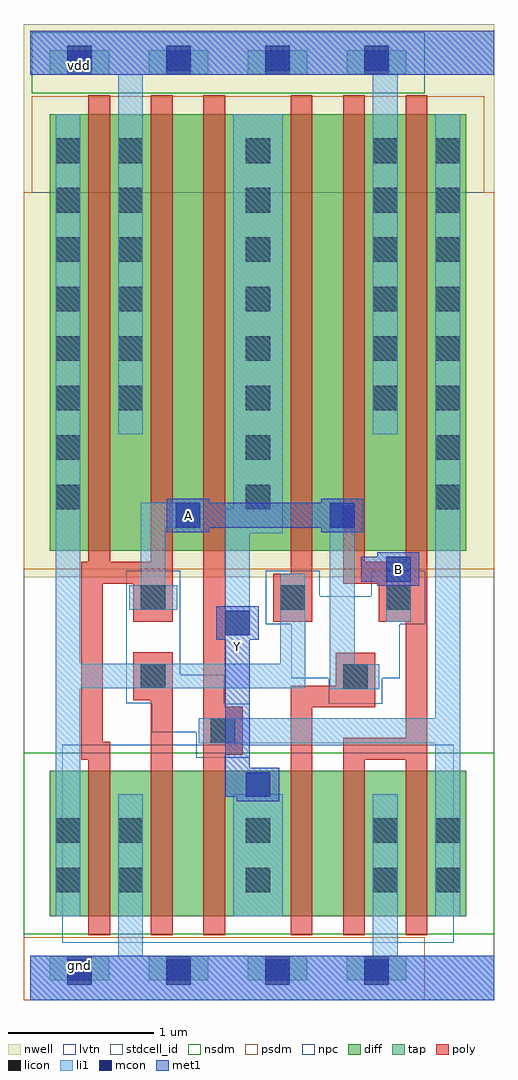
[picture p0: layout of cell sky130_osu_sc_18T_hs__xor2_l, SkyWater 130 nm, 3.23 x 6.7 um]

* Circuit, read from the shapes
.subckt sky130_osu_sc_18T_hs__xor2_l A B Y gnd vdd
XM1 gnd A n1 gnd sky130_fd_pr__nfet_01v8_lvt w=1 l=0.15
XM2 n2 n1 gnd gnd sky130_fd_pr__nfet_01v8_lvt w=1 l=0.15
XM3 Y n3 n2 gnd sky130_fd_pr__nfet_01v8_lvt w=1 l=0.15
XM4 n4 A Y gnd sky130_fd_pr__nfet_01v8_lvt w=1 l=0.15
XM5 gnd B n4 gnd sky130_fd_pr__nfet_01v8_lvt w=1 l=0.15
XM6 n3 B gnd gnd sky130_fd_pr__nfet_01v8_lvt w=1 l=0.15
XM7 vdd A n1 vdd sky130_fd_pr__pfet_01v8 w=3 l=0.15
XM8 n5 A vdd vdd sky130_fd_pr__pfet_01v8 w=3 l=0.15
XM9 Y n3 n5 vdd sky130_fd_pr__pfet_01v8 w=3 l=0.15
XM10 n6 n1 Y vdd sky130_fd_pr__pfet_01v8 w=3 l=0.15
XM11 vdd B n6 vdd sky130_fd_pr__pfet_01v8 w=3 l=0.15
XM12 n3 B vdd vdd sky130_fd_pr__pfet_01v8 w=3 l=0.15
.ends

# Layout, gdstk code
import gdstk
lib = gdstk.Library(unit=1e-6, precision=1e-09)
def R(c, l, rs):  # rectangles x0, y0, x1, y1
    for r in rs: c.add(gdstk.rectangle(r[:2], r[2:], *l))
nwell = (64, 20)
diff = (65, 20)
tap = (65, 44)
poly = (66, 20)
licon = (66, 44)
li1 = (67, 20)
mcon = (67, 44)
met1 = (68, 20)
stdcell_id = (81, 4)
nsdm = (93, 44)
psdm = (94, 20)
npc = (95, 20)
lvtn = (125, 44)

sky130_osu_sc_18t_hs__xo = lib.new_cell('sky130_osu_sc_18T_hs__xor2_l')
R(sky130_osu_sc_18t_hs__xo, nwell, [(-0.045,2.905,3.19,6.705), (-0.045,2.905,3.19,6.705)])
R(sky130_osu_sc_18t_hs__xo, diff, [(0.135,0.575,2.995,1.575), (0.135,0.575,2.995,1.575), (0.135,3.085,2.995,6.085), (0.135,3.085,2.995,6.085)])
R(sky130_osu_sc_18t_hs__xo, tap, [(0.135,0.135,0.545,0.305), (0.135,0.135,0.545,0.305), (0.815,0.135,1.225,0.305), (0.815,0.135,1.225,0.305), (1.495,0.135,1.905,0.305), (1.495,0.135,1.905,0.305), (2.175,0.135,2.585,0.305), (2.175,0.135,2.585,0.305), (0.135,6.355,0.545,6.525), (0.135,6.355,0.545,6.525), (0.815,6.355,1.225,6.525), (0.815,6.355,1.225,6.525), (1.495,6.355,1.905,6.525), (1.495,6.355,1.905,6.525), (2.175,6.355,2.585,6.525), (2.175,6.355,2.585,6.525)])
R(sky130_osu_sc_18t_hs__xo, poly, [(0.4,0.445,0.55,1.65), (0.4,0.445,0.55,1.65), (0.83,0.445,0.98,2.06), (0.83,0.445,0.98,2.06), (1.19,0.445,1.34,1.685), (1.19,0.445,1.34,1.685), (1.79,0.445,1.94,2.01), (1.79,0.445,1.94,2.01), (2.15,0.445,2.3,1.65), (2.15,0.445,2.3,1.65), (2.58,0.445,2.73,1.65), (2.58,0.445,2.73,1.65), (0.35,1.65,0.55,1.775), (0.35,1.65,0.55,1.775), (2.15,1.65,2.73,1.8), (2.15,1.65,2.73,1.8), (1.19,1.685,1.46,2.015), (1.19,1.685,1.46,2.015), (0.35,1.775,0.5,2.86), (0.35,1.775,0.5,2.86), (2.58,1.8,2.73,2.6), (2.58,1.8,2.73,2.6), (1.79,2.01,2.37,2.16), (1.79,2.01,2.37,2.16), (1.19,2.015,1.34,6.215), (1.19,2.015,1.34,6.215), (0.71,2.06,0.98,2.39), (0.71,2.06,0.98,2.39), (2.1,2.16,2.37,2.385), (2.1,2.16,2.37,2.385), (0.71,2.6,0.98,2.86), (0.71,2.6,0.98,2.86), (1.67,2.6,1.94,2.93), (1.67,2.6,1.94,2.93), (2.395,2.6,2.73,2.86), (2.395,2.6,2.73,2.86), (0.35,2.86,0.98,3.01), (0.35,2.86,0.98,3.01), (2.15,2.86,2.73,3.01), (2.15,2.86,2.73,3.01), (1.79,2.93,1.94,6.215), (1.79,2.93,1.94,6.215), (0.4,3.01,0.55,6.215), (0.4,3.01,0.55,6.215), (0.83,3.01,0.98,6.215), (0.83,3.01,0.98,6.215), (2.15,3.01,2.3,6.215), (2.15,3.01,2.3,6.215), (2.58,3.01,2.73,6.215), (2.58,3.01,2.73,6.215)])
R(sky130_osu_sc_18t_hs__xo, licon, [(0.255,0.135,0.425,0.305), (0.255,0.135,0.425,0.305), (0.935,0.135,1.105,0.305), (0.935,0.135,1.105,0.305), (1.615,0.135,1.785,0.305), (1.615,0.135,1.785,0.305), (2.295,0.135,2.465,0.305), (2.295,0.135,2.465,0.305), (0.175,0.74,0.345,0.91), (0.175,0.74,0.345,0.91), (0.605,0.74,0.775,0.91), (0.605,0.74,0.775,0.91), (1.48,0.74,1.65,0.91), (1.48,0.74,1.65,0.91), (2.355,0.74,2.525,0.91), (2.355,0.74,2.525,0.91), (2.785,0.74,2.955,0.91), (2.785,0.74,2.955,0.91), (0.175,1.08,0.345,1.25), (0.175,1.08,0.345,1.25), (0.605,1.08,0.775,1.25), (0.605,1.08,0.775,1.25), (1.48,1.08,1.65,1.25), (1.48,1.08,1.65,1.25), (2.355,1.08,2.525,1.25), (2.355,1.08,2.525,1.25), (2.785,1.08,2.955,1.25), (2.785,1.08,2.955,1.25), (1.24,1.765,1.41,1.935), (1.24,1.765,1.41,1.935), (2.15,2.135,2.32,2.305), (2.15,2.135,2.32,2.305), (0.76,2.14,0.93,2.31), (0.76,2.14,0.93,2.31), (0.76,2.68,0.93,2.85), (0.76,2.68,0.93,2.85), (1.72,2.68,1.89,2.85), (1.72,2.68,1.89,2.85), (2.445,2.68,2.615,2.85), (2.445,2.68,2.615,2.85), (0.175,3.37,0.345,3.54), (0.175,3.37,0.345,3.54), (1.48,3.37,1.65,3.54), (1.48,3.37,1.65,3.54), (2.785,3.37,2.955,3.54), (2.785,3.37,2.955,3.54), (0.175,3.71,0.345,3.88), (0.175,3.71,0.345,3.88), (1.48,3.71,1.65,3.88), (1.48,3.71,1.65,3.88), (2.785,3.71,2.955,3.88), (2.785,3.71,2.955,3.88), (0.175,4.05,0.345,4.22), (0.175,4.05,0.345,4.22), (0.605,4.05,0.775,4.22), (0.605,4.05,0.775,4.22), (1.48,4.05,1.65,4.22), (1.48,4.05,1.65,4.22), (2.355,4.05,2.525,4.22), (2.355,4.05,2.525,4.22), (2.785,4.05,2.955,4.22), (2.785,4.05,2.955,4.22), (0.175,4.39,0.345,4.56), (0.175,4.39,0.345,4.56), (0.605,4.39,0.775,4.56), (0.605,4.39,0.775,4.56), (1.48,4.39,1.65,4.56), (1.48,4.39,1.65,4.56), (2.355,4.39,2.525,4.56), (2.355,4.39,2.525,4.56), (2.785,4.39,2.955,4.56), (2.785,4.39,2.955,4.56), (0.175,4.73,0.345,4.9), (0.175,4.73,0.345,4.9), (0.605,4.73,0.775,4.9), (0.605,4.73,0.775,4.9), (1.48,4.73,1.65,4.9), (1.48,4.73,1.65,4.9), (2.355,4.73,2.525,4.9), (2.355,4.73,2.525,4.9), (2.785,4.73,2.955,4.9), (2.785,4.73,2.955,4.9), (0.175,5.07,0.345,5.24), (0.175,5.07,0.345,5.24), (0.605,5.07,0.775,5.24), (0.605,5.07,0.775,5.24), (1.48,5.07,1.65,5.24), (1.48,5.07,1.65,5.24), (2.355,5.07,2.525,5.24), (2.355,5.07,2.525,5.24), (2.785,5.07,2.955,5.24), (2.785,5.07,2.955,5.24), (0.175,5.41,0.345,5.58), (0.175,5.41,0.345,5.58), (0.605,5.41,0.775,5.58), (0.605,5.41,0.775,5.58), (1.48,5.41,1.65,5.58), (1.48,5.41,1.65,5.58), (2.355,5.41,2.525,5.58), (2.355,5.41,2.525,5.58), (2.785,5.41,2.955,5.58), (2.785,5.41,2.955,5.58), (0.175,5.75,0.345,5.92), (0.175,5.75,0.345,5.92), (0.605,5.75,0.775,5.92), (0.605,5.75,0.775,5.92), (1.48,5.75,1.65,5.92), (1.48,5.75,1.65,5.92), (2.355,5.75,2.525,5.92), (2.355,5.75,2.525,5.92), (2.785,5.75,2.955,5.92), (2.785,5.75,2.955,5.92), (0.255,6.355,0.425,6.525), (0.255,6.355,0.425,6.525), (0.935,6.355,1.105,6.525), (0.935,6.355,1.105,6.525), (1.615,6.355,1.785,6.525), (1.615,6.355,1.785,6.525), (2.295,6.355,2.465,6.525), (2.295,6.355,2.465,6.525)])
R(sky130_osu_sc_18t_hs__xo, li1, [(0,0,3.19,0.305), (0,0,3.19,0.305), (0.605,0.305,0.775,1.415), (0.605,0.305,0.775,1.415), (2.355,0.305,2.525,1.415), (2.355,0.305,2.525,1.415), (0.175,0.575,0.345,2.14), (0.175,0.575,0.345,2.14), (1.395,0.575,1.735,1.415), (1.395,0.575,1.735,1.415), (2.785,0.575,2.955,1.765), (2.785,0.575,2.955,1.765), (1.48,1.415,1.65,1.565), (1.48,1.415,1.65,1.565), (1.16,1.765,2.955,1.935), (1.16,1.765,2.955,1.935), (2.785,1.935,2.955,6.085), (2.785,1.935,2.955,6.085), (2.06,2.135,2.4,2.305), (2.06,2.135,2.4,2.305), (0.175,2.14,1.89,2.31), (0.175,2.14,1.89,2.31), (2.06,2.305,2.23,3.415), (2.06,2.305,2.23,3.415), (0.175,2.31,0.345,6.085), (0.175,2.31,0.345,6.085), (1.72,2.31,1.89,2.93), (1.72,2.31,1.89,2.93), (1.34,2.505,1.51,3.205), (1.34,2.505,1.51,3.205), (2.445,2.6,2.615,3.045), (2.445,2.6,2.615,3.045), (0.68,2.68,1.01,2.85), (0.68,2.68,1.01,2.85), (0.76,2.85,0.93,3.245), (0.76,2.85,0.93,3.245), (1.34,3.205,1.735,3.375), (1.34,3.205,1.735,3.375), (0.76,3.245,1.17,3.415), (0.76,3.245,1.17,3.415), (1.395,3.375,1.735,6.085), (1.395,3.375,1.735,6.085), (0.605,3.885,0.775,6.355), (0.605,3.885,0.775,6.355), (2.355,3.885,2.525,6.355), (2.355,3.885,2.525,6.355), (0,6.355,3.19,6.66), (0,6.355,3.19,6.66)])
R(sky130_osu_sc_18t_hs__xo, mcon, [(0.255,0.105,0.425,0.275), (0.255,0.105,0.425,0.275), (0.935,0.105,1.105,0.275), (0.935,0.105,1.105,0.275), (1.615,0.105,1.785,0.275), (1.615,0.105,1.785,0.275), (2.295,0.105,2.465,0.275), (2.295,0.105,2.465,0.275), (1.48,1.395,1.65,1.565), (1.48,1.395,1.65,1.565), (1.34,2.505,1.51,2.675), (1.34,2.505,1.51,2.675), (2.445,2.875,2.615,3.045), (2.445,2.875,2.615,3.045), (1,3.245,1.17,3.415), (1,3.245,1.17,3.415), (2.06,3.245,2.23,3.415), (2.06,3.245,2.23,3.415), (0.255,6.385,0.425,6.555), (0.255,6.385,0.425,6.555), (0.935,6.385,1.105,6.555), (0.935,6.385,1.105,6.555), (1.615,6.385,1.785,6.555), (1.615,6.385,1.785,6.555), (2.295,6.385,2.465,6.555), (2.295,6.385,2.465,6.555)])
R(sky130_osu_sc_18t_hs__xo, met1, [(0,0,3.19,0.305), (0,0,3.19,0.305), (1.42,1.365,1.71,1.395), (1.42,1.365,1.71,1.395), (1.34,1.395,1.71,1.595), (1.34,1.395,1.71,1.595), (1.34,1.595,1.51,2.475), (1.34,1.595,1.51,2.475), (1.28,2.475,1.57,2.705), (1.28,2.475,1.57,2.705), (2.385,2.845,2.675,2.875), (2.385,2.845,2.675,2.875), (2.275,2.875,2.675,3.045), (2.275,2.875,2.675,3.045), (2.385,3.045,2.675,3.075), (2.385,3.045,2.675,3.075), (0.94,3.215,1.23,3.245), (0.94,3.215,1.23,3.245), (2,3.215,2.29,3.245), (2,3.215,2.29,3.245), (0.94,3.245,2.29,3.415), (0.94,3.245,2.29,3.415), (0.94,3.415,1.23,3.445), (0.94,3.415,1.23,3.445), (2,3.415,2.29,3.445), (2,3.415,2.29,3.445), (0,6.355,3.19,6.66), (0,6.355,3.19,6.66)])
R(sky130_osu_sc_18t_hs__xo, stdcell_id, [(-0.045,0,3.19,5.55), (-0.045,0,3.19,5.55)])
R(sky130_osu_sc_18t_hs__xo, nsdm, [(-0.045,0.45,3.19,1.7), (-0.045,0.45,3.19,1.7), (0.01,6.23,2.71,6.65), (0.01,6.23,2.71,6.65)])
R(sky130_osu_sc_18t_hs__xo, psdm, [(-0.045,0,2.71,0.43), (-0.045,0,2.71,0.43), (-0.045,2.96,3.19,5.55), (-0.045,2.96,3.19,5.55), (0.01,5.55,3.12,6.21), (0.01,5.55,3.12,6.21)])
R(sky130_osu_sc_18t_hs__xo, npc, [(1.14,1.665,1.51,1.84), (1.14,1.665,1.51,1.84), (0.835,1.84,1.51,2.035), (0.835,1.84,1.51,2.035), (0.835,2.035,1.335,2.04), (0.835,2.035,1.335,2.04), (2.05,2.035,2.42,2.21), (2.05,2.035,2.42,2.21), (0.66,2.04,1.335,2.235), (0.66,2.04,1.335,2.235), (1.795,2.21,2.54,2.58), (1.795,2.21,2.54,2.58), (0.66,2.235,1.03,2.95), (0.66,2.235,1.03,2.95), (1.62,2.58,2.715,2.775), (1.62,2.58,2.715,2.775), (1.62,2.775,1.99,2.95), (1.62,2.775,1.99,2.95), (2.345,2.775,2.715,2.95), (2.345,2.775,2.715,2.95)])
R(sky130_osu_sc_18t_hs__xo, lvtn, [(0.22,0.395,2.91,1.755), (0.22,0.395,2.91,1.755)])
sky130_osu_sc_18t_hs__xo.add(gdstk.Label('gnd', (0.34,0.24), layer=68, texttype=16))
sky130_osu_sc_18t_hs__xo.add(gdstk.Label('vdd', (0.34,6.42), layer=68, texttype=16))
sky130_osu_sc_18t_hs__xo.add(gdstk.Label('gnd', (0.34,0.24), layer=68, texttype=16))
sky130_osu_sc_18t_hs__xo.add(gdstk.Label('vdd', (0.34,6.42), layer=68, texttype=16))
sky130_osu_sc_18t_hs__xo.add(gdstk.Label('A', (1.09,3.33), layer=68, texttype=5))
sky130_osu_sc_18t_hs__xo.add(gdstk.Label('Y', (1.425,2.43), layer=68, texttype=5))
sky130_osu_sc_18t_hs__xo.add(gdstk.Label('B', (2.53,2.96), layer=68, texttype=5))
sky130_osu_sc_18t_hs__xo.add(gdstk.Label('A', (1.09,3.33), layer=68, texttype=5))
sky130_osu_sc_18t_hs__xo.add(gdstk.Label('Y', (1.425,2.43), layer=68, texttype=5))
sky130_osu_sc_18t_hs__xo.add(gdstk.Label('B', (2.53,2.96), layer=68, texttype=5))

lib.write_gds('sky130_osu_sc_18T_hs__xor2_l.gds')
